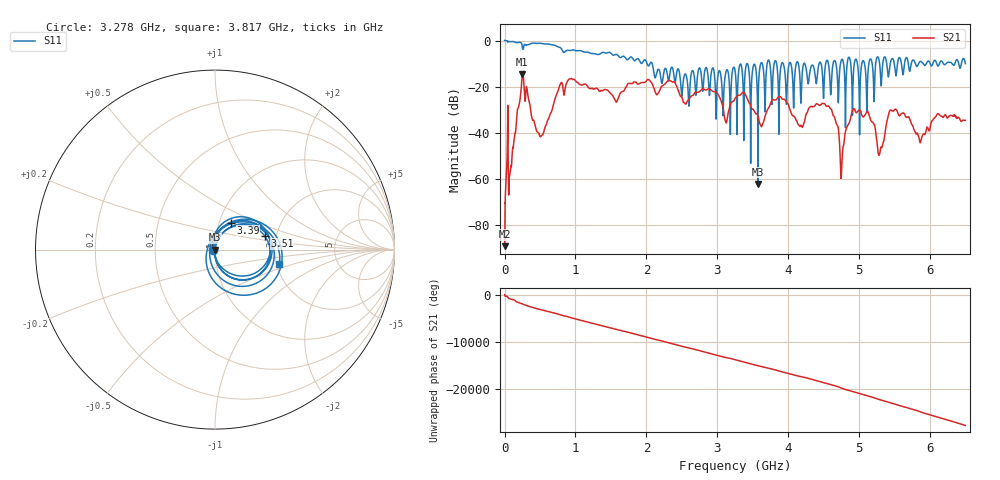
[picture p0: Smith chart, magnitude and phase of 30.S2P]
!Keysight Technologies,E5063A,MY54503115,A.05.08
!Date: Mon Mar 04 15:58:09 2024
!Data & Calibration Information:
!Freq	S11:NONE(--)	S21:NONE(--)	S12:NONE(--)	S22:NONE(--)
# Hz S dB R 50
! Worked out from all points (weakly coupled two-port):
!   10001 points, 100 kHz to 6.5 GHz, reference 50 ohm
!   highest |S21| = -14.61 dB at 250.3 MHz (marker M1); lowest = -88.9 dB at 1.4 MHz (marker M2)
!   lowest |S11| = -62.1 dB at 3.572 GHz (marker M3), VSWR 1.00, Z = 50.1 + j0.0172 ohm
!   |S11| at or under -10 dB: 2.082 GHz to 3.417 GHz (1.336 GHz wide, 48.6 % of centre); 3.424 GHz to 3.613 GHz (188.7 MHz wide, 5.36 % of centre); 4.235 GHz to 4.436 GHz (200.6 MHz wide, 4.63 % of centre) (the widest 3 of 30)
!   S12 and S22 are empty: the file has one direction only
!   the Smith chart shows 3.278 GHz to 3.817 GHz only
!   S11 on the Smith chart (normalised r, x): 3.278 GHz: 0.98, -0.01; 3.39 GHz: 1.13, +0.35; 3.51 GHz: 1.74, +0.29; 3.817 GHz: 2.07, -0.38
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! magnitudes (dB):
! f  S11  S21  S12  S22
! 100 kHz  0.0  -88.9  -  -
! 1.4 MHz  0.0  -88.9  -  -
! 250.3 MHz  -3.1  -14.6  -  -
! 514.2 MHz  -1.2  -41.4  -  -
! 785.3 MHz  -3.0  -18.9  -  -
! 1.084 GHz  -4.5  -19.2  -  -
! 2.167 GHz  -12.4  -22.7  -  -
! 3.25 GHz  -12.8  -25.0  -  -
! 3.278 GHz  -40.7  -23.9  -  -
! 3.39 GHz  -15.2  -22.9  -  -
! 3.51 GHz  -10.8  -30.0  -  -
! 3.572 GHz  -62.1  -32.3  -  -
! 3.817 GHz  -8.7  -25.7  -  -
! 4.177 GHz  -25.7  -36.6  -  -
! 4.334 GHz  -10.7  -28.5  -  -
! 4.594 GHz  -20.3  -29.3  -  -
! 4.756 GHz  -8.2  -54.4  -  -
! 4.919 GHz  -15.0  -29.6  -  -
! 5.292 GHz  -10.7  -48.8  -  -
! 5.417 GHz  -15.4  -31.8  -  -
! 5.864 GHz  -9.0  -44.1  -  -
! 6.5 GHz  -10.0  -34.5  -  -
